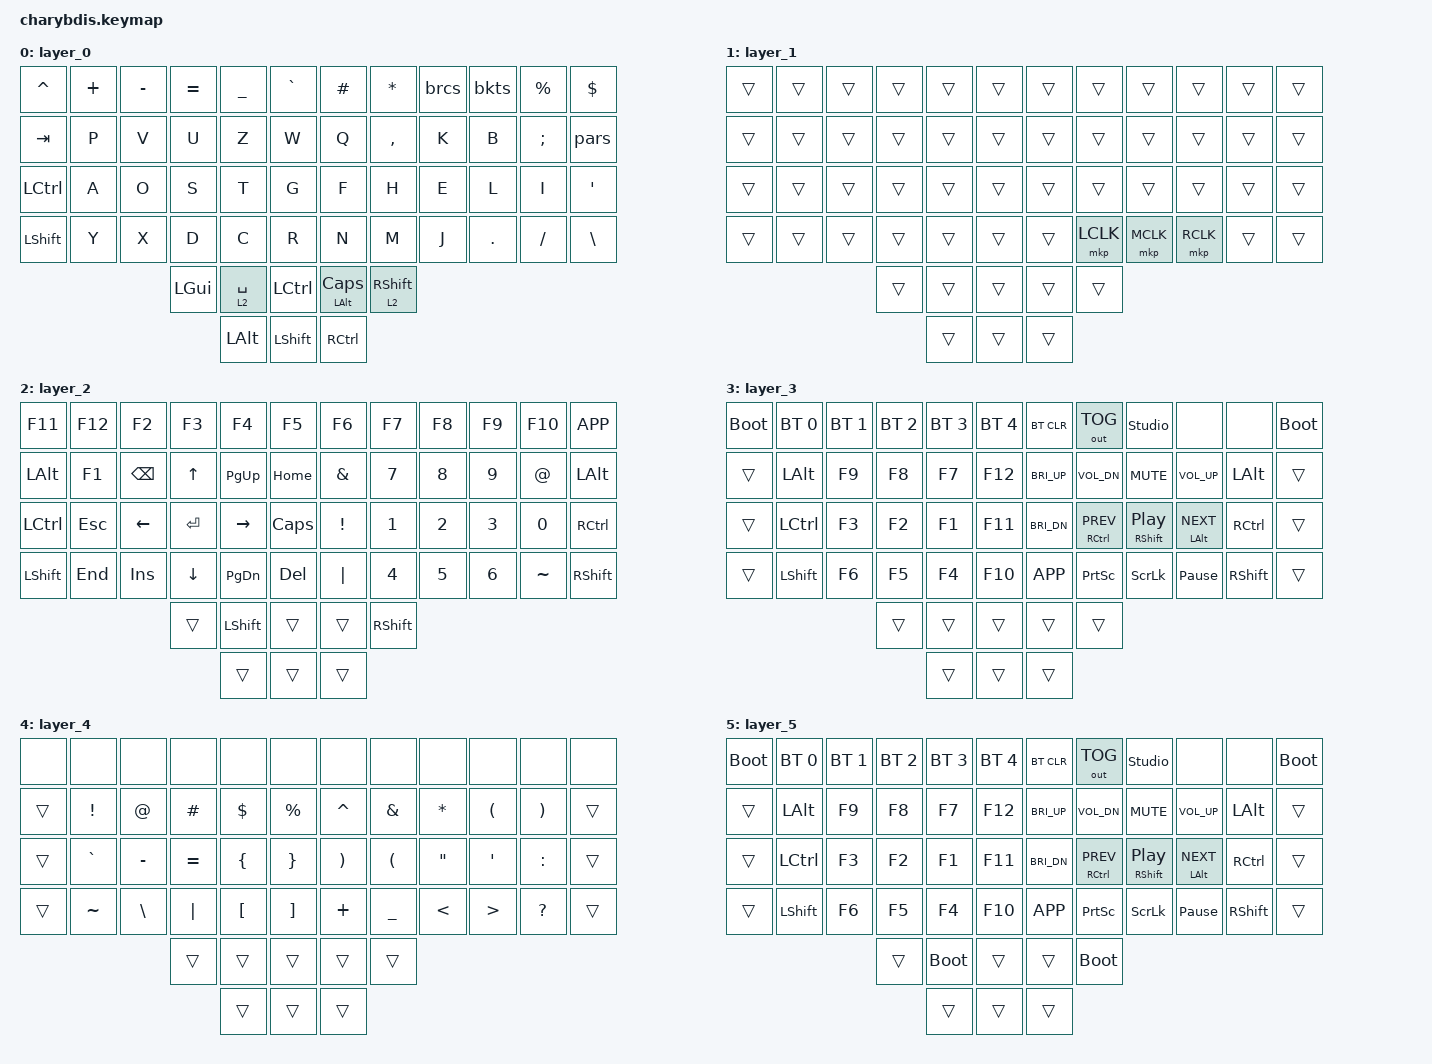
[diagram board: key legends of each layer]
#include <behaviors.dtsi>
#include <behaviors/mouse_keys.dtsi>
#include <dt-bindings/zmk/backlight.h>
#include <dt-bindings/zmk/bt.h>
#include <dt-bindings/zmk/keys.h>
#include <dt-bindings/zmk/mouse.h>
#include <dt-bindings/zmk/outputs.h>
#include <dt-bindings/zmk/pointing.h>
#include <dt-bindings/zmk/rgb.h>

&lt { flavor = "hold-preferred"; quick-tap-ms = <200>; };
&sk { release-after-ms = <5000>; quick-release; };

/ {
    behaviors {
        ls: layer_sticky { compatible = "zmk,behavior-hold-tap"; #binding-cells = <2>; flavor = "hold-preferred"; tapping-term-ms = <200>; bindings = <&mo>, <&sk>; };
        mc: mod_capsword { compatible = "zmk,behavior-hold-tap"; #binding-cells = <2>; flavor = "hold-preferred"; tapping-term-ms = <200>; bindings = <&kp>, <&caps_word>; };
        pars: pars { compatible = "zmk,behavior-mod-morph"; #binding-cells = <0>; mods = <(MOD_LSFT|MOD_RSFT)>; bindings = <&kp LPAR>, <&kp RPAR>;};
        brcs: brcs { compatible = "zmk,behavior-mod-morph"; #binding-cells = <0>; mods = <(MOD_LSFT|MOD_RSFT)>; bindings = <&kp LBRC>, <&kp RBRC>;};
        bkts: bkts { compatible = "zmk,behavior-mod-morph"; #binding-cells = <0>; mods = <(MOD_LSFT|MOD_RSFT)>; bindings = <&kp LBKT>, <&kp RBKT>;};
        
    };
    combos {
        compatible = "zmk,combos";
        mo3            { bindings = <&mo 3>;            key-positions = <48 50>; };
        // shift_alt      { bindings = <&kp LS(LALT)>;     key-positions = <49 48>; };
        // shift_alt_gui  { bindings = <&kp LS(LA(LGUI))>; key-positions = <49 48 53>; };
        // shift_ctrl     { bindings = <&kp LS(LCTRL)>;    key-positions = <49 50>; };
        // shift_gui      { bindings = <&kp LS(LGUI)>;     key-positions = <49 53>; };
        // shift_ctrl_gui { bindings = <&kp LS(LC(LGUI))>; key-positions = <49 50 53 54>; };
        // shift_ctrl_2   { bindings = <&kp LS(LCTRL)>;    key-positions = <52 51>; };
        // shift_ctrl_alt { bindings = <&kp LS(LC(LALT))>; key-positions = <52 51 55>; };
    }; 
    keymap {
        compatible = "zmk,keymap";
        layer_0 { bindings = <
&kp CARET           &kp PLUS            &kp MINUS           &kp EQUAL           &kp UNDER           &kp GRAVE               &kp POUND           &kp ASTRK           &brcs               &bkts               &kp PRCNT           &kp DLLR
&kp TAB             &kp P               &kp V               &kp U               &kp Z               &kp W                   &kp Q               &kp COMMA           &kp K               &kp B               &kp SEMI            &pars
&kp LCTRL           &kp A               &kp O               &kp S               &kp T               &kp G                   &kp F               &kp H               &kp E               &kp L               &kp I               &kp SQT
&kp LSHFT           &kp Y               &kp X               &kp D               &kp C               &kp R                   &kp N               &kp M               &kp J               &kp DOT             &kp FSLH            &kp BSLH
                                                            &kp LGUI            &lt 2 SPACE         &kp LCTRL               &mc LALT CAPS       &ls 2 RSHIFT
                                                                                &kp LALT            &kp LSHFT               &kp RCTRL >; };
        layer_1 { bindings = < 
&trans              &trans              &trans              &trans              &trans              &trans                  &trans              &trans              &trans              &trans              &trans              &trans
&trans              &trans              &trans              &trans              &trans              &trans                  &trans              &trans              &trans              &trans              &trans              &trans
&trans              &trans              &trans              &trans              &trans              &trans                  &trans              &trans              &trans              &trans              &trans              &trans
&trans              &trans              &trans              &trans              &trans              &trans                  &trans              &mkp LCLK           &mkp MCLK           &mkp RCLK           &trans              &trans
                                                            &trans              &trans              &trans                  &trans              &trans 
                                                                                &trans              &trans                  &trans >; };
        layer_2 { bindings = <
&kp F11             &kp F12             &kp F2              &kp F3              &kp F4              &kp F5                  &kp F6              &kp F7              &kp F8              &kp F9              &kp F10             &kp K_APP
&kp LALT            &kp F1              &kp BSPC            &kp UP              &kp PG_UP           &kp HOME                &kp AMPS            &kp N7              &kp N8              &kp N9              &kp AT              &kp LALT
&kp LCTRL           &kp ESC             &kp LEFT            &kp ENTER           &kp RIGHT           &kp CAPS                &kp EXCL            &kp N1              &kp N2              &kp N3              &kp N0              &kp RCTRL
&kp LSHFT           &kp END             &kp INS             &kp DOWN            &kp PG_DN           &kp DEL                 &kp PIPE            &kp N4              &kp N5              &kp N6              &kp TILDE           &kp RSHFT
                                                            &trans              &kp LSHIFT          &trans                  &trans              &kp RSHIFT
                                                                                &trans              &trans                  &trans >; };
        layer_3 { bindings = <
&bootloader         &bt BT_SEL 0        &bt BT_SEL 1       &bt BT_SEL 2         &bt BT_SEL 3        &bt BT_SEL 4            &bt BT_CLR          &out OUT_TOG        &studio_unlock      &none               &none               &bootloader
&trans              &kp LALT            &kp F9              &kp F8              &kp F7              &kp F12                 &kp C_BRI_UP        &kp C_VOL_DN        &kp C_MUTE          &kp C_VOL_UP        &kp LALT            &trans
&trans              &kp LCTRL           &kp F3              &kp F2              &kp F1              &kp F11                 &kp C_BRI_DN        &mt RCTRL C_PREV    &mt RSHFT C_PP      &mt LALT C_NEXT     &kp RCTRL           &trans
&trans              &kp LSHFT           &kp F6              &kp F5              &kp F4              &kp F10                 &kp K_APP           &kp PSCRN           &kp SLCK            &kp PAUSE_BREAK     &kp RSHFT           &trans
                                                            &trans              &trans              &trans                  &trans              &trans
                                                                                &trans              &trans                  &trans >; };
        layer_4 { bindings = <
&none               &none               &none               &none               &none               &none                   &none               &none               &none               &none               &none               &none
&trans              &kp EXCL            &kp AT              &kp POUND           &kp DLLR            &kp PRCNT               &kp CARET           &kp AMPS            &kp ASTRK           &kp LPAR            &kp RPAR            &trans
&trans              &kp GRAVE           &kp MINUS           &kp EQUAL           &kp LBRC            &kp RBRC                &kp RPAR            &kp LPAR            &kp DQT             &kp SQT             &kp COLON           &trans
&trans              &kp TILDE           &kp BSLH            &kp PIPE            &kp LBKT            &kp RBKT                &kp PLUS            &kp UNDER           &kp LT              &kp GT              &kp QMARK           &trans
                                                            &trans              &trans              &trans                  &trans              &trans
                                                                                &trans              &trans                  &trans >; };
        layer_5 { bindings = <
&bootloader         &bt BT_SEL 0        &bt BT_SEL 1       &bt BT_SEL 2         &bt BT_SEL 3        &bt BT_SEL 4            &bt BT_CLR          &out OUT_TOG        &studio_unlock      &none               &none               &bootloader
&trans              &kp LALT            &kp F9              &kp F8              &kp F7              &kp F12                 &kp C_BRI_UP        &kp C_VOL_DN        &kp C_MUTE          &kp C_VOL_UP        &kp LALT            &trans
&trans              &kp LCTRL           &kp F3              &kp F2              &kp F1              &kp F11                 &kp C_BRI_DN        &mt RCTRL C_PREV    &mt RSHFT C_PP      &mt LALT C_NEXT     &kp RCTRL           &trans
&trans              &kp LSHFT           &kp F6              &kp F5              &kp F4              &kp F10                 &kp K_APP           &kp PSCRN           &kp SLCK            &kp PAUSE_BREAK     &kp RSHFT           &trans
                                                            &trans              &bootloader         &trans                  &trans              &bootloader
                                                                                &trans              &trans                  &trans >; };
    };
};
